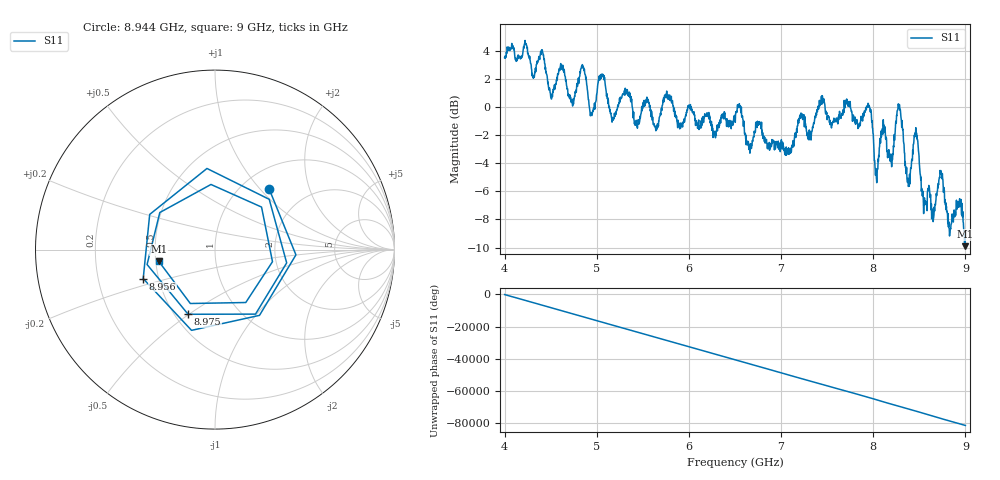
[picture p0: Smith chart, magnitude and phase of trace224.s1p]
! Created with skrf 1.8.0 (http://scikit-rf.org).
# Hz S RI R 50.0
!freq ReS11 ImS11
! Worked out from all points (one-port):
!   1601 points, 4 GHz to 9 GHz, reference 50 ohm
!   lowest |S11| = -9.9 dB at 9 GHz (marker M1), VSWR 1.94, Z = 26 - j3.79 ohm
!   |S11| at or under -10 dB: nowhere
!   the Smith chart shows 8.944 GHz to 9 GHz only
!   S11 on the Smith chart (normalised r, x): 8.944 GHz: 1.32, +1.12; 8.956 GHz: 0.41, -0.16; 8.975 GHz: 0.58, -0.50; 9 GHz: 0.52, -0.08
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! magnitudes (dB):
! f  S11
! 4 GHz  3.5
! 4.406 GHz  4.0
! 4.506 GHz  0.6
! 4.625 GHz  2.9
! 4.731 GHz  0.4
! 4.853 GHz  2.9
! 4.947 GHz  -0.6
! 5.05 GHz  2.3
! 5.25 GHz  0.4
! 5.875 GHz  -1.2
! 6.5 GHz  -0.6
! 7.125 GHz  -2.8
! 7.441 GHz  0.2
! 7.75 GHz  0.4
! 7.953 GHz  0.1
! 8.038 GHz  -5.4
! 8.106 GHz  -1.4
! 8.197 GHz  -3.6
! 8.278 GHz  -0.1
! 8.375 GHz  -5.2
! 8.459 GHz  -1.9
! 8.559 GHz  -6.9
! 8.731 GHz  -4.6
! 8.828 GHz  -9.2
! 8.944 GHz  -6.9
! 8.956 GHz  -7.3
! 8.975 GHz  -8.2
! 9 GHz  -9.9
